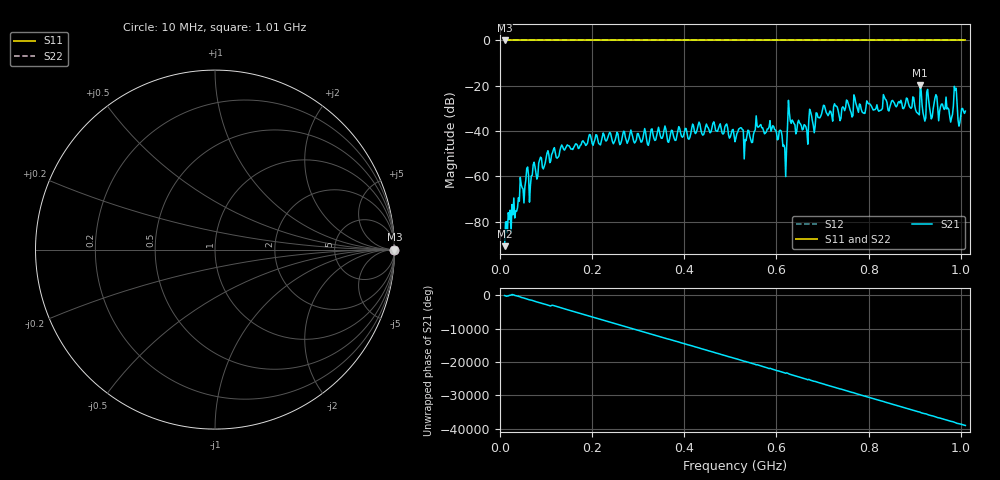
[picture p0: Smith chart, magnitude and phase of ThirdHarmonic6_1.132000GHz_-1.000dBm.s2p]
! 8/16/2025 11:01:38 AM
! C:\ANRITSUVNA\TEMP\TEMP.S2P
! CHANNEL.1
! TR.MEASUREMENT
! RAW.DATA
! RF.CORRECTION.OFF
! AVERAGING.OFF
! IF.BANDWIDTH: 5KHZ
! SWEEPTYPE:  FREQ.SWEEP(Linear)
! Reference Plane Port Info
! PORT:  PORT1  PORT2
! DISTANCE:  0  m  0  m
! TIME:  0  s  0  s
! PHASE.OFFSET:  0  deg.  0  deg.
! LOSS:  0  dB  0  dB
! REF.LOSS:  0  dB  0  dB
! REF.FREQ:  0  Hz  0  Hz
! Power Info
! POWER:  -20  dBm  -20  dBm
! EFF.POWER:  -20  dBm  -20  dBm
! SOURCE.ATTEN:  0  dB  0  dB
! TEST.ATTEN:  0  dB  0  dB
# GHZ S RI R 50.0
! FREQ.GHZ  S11RE  S11IM  S21RE  S21IM  S12RE  S12IM  S22RE  S22IM
!; PortSelection: Port_12
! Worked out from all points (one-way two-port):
!   501 points, 10 MHz to 1.01 GHz, reference 50 ohm
!   highest |S21| = -19.81 dB at 912 MHz (marker M1); lowest = -90.7 dB at 10 MHz (marker M2)
!   lowest |S11| = 0.0 dB at 10 MHz (marker M3)
!   |S11| at or under -10 dB: nowhere
!   |S22| runs from 0.0 to 0.0 dB; largest |S21 - S12| = 1.1
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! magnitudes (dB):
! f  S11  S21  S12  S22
! 10 MHz  0.0  -90.7  0.0  0.0
! 88 MHz  0.0  -51.5  0.0  0.0
! 178 MHz  0.0  -44.6  0.0  0.0
! 344 MHz  0.0  -38.3  0.0  0.0
! 510 MHz  0.0  -44.7  0.0  0.0
! 590 MHz  0.0  -38.8  0.0  0.0
! 610 MHz  0.0  -39.9  0.0  0.0
! 618 MHz  0.0  -47.4  0.0  0.0
! 630 MHz  0.0  -35.6  0.0  0.0
! 664 MHz  0.0  -38.1  0.0  0.0
! 678 MHz  0.0  -35.5  0.0  0.0
! 772 MHz  0.0  -27.5  0.0  0.0
! 844 MHz  0.0  -31.1  0.0  0.0
! 906 MHz  0.0  -32.0  0.0  0.0
! 912 MHz  0.0  -19.8  0.0  0.0
! 920 MHz  0.0  -33.8  0.0  0.0
! 928 MHz  0.0  -21.6  0.0  0.0
! 946 MHz  0.0  -23.9  0.0  0.0
! 978 MHz  0.0  -36.0  0.0  0.0
! 988 MHz  0.0  -22.0  0.0  0.0
! 996 MHz  0.0  -37.8  0.0  0.0
! 1.01 GHz  0.0  -31.2  0.0  0.0
